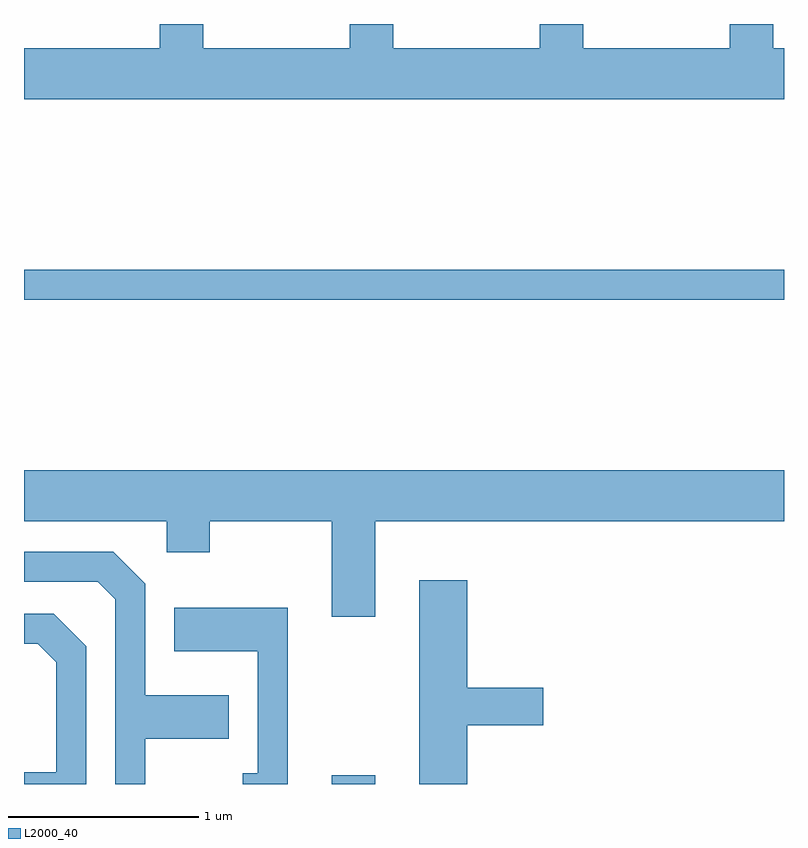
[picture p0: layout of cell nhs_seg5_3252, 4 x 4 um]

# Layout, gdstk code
import gdstk
lib = gdstk.Library(unit=1e-6, precision=1e-09)
def R(c, l, rs):  # rectangles x0, y0, x1, y1
    for r in rs: c.add(gdstk.rectangle(r[:2], r[2:], *l))
def P(c, l, *ps):  # polygons
    for p in ps: c.add(gdstk.Polygon(p, *l))
L2000_40 = (2000, 40)

nhs_seg5_3252 = lib.new_cell('nhs_seg5_3252')
R(nhs_seg5_3252, L2000_40, [(283.231,1462.072,283.459,1462.119), (281.611,1464.621,285.611,1464.779)])
P(nhs_seg5_3252, L2000_40, [(285.611,1465.944),(285.554,1465.944),(285.554,1466.072),(285.326,1466.072),(285.326,1465.944),(284.554,1465.944),(284.554,1466.072),(284.326,1466.072),(284.326,1465.944),(283.554,1465.944),(283.554,1466.072),(283.326,1466.072),(283.326,1465.944),(282.554,1465.944),(282.554,1466.072),(282.326,1466.072),(282.326,1465.944),(281.611,1465.944),(281.611,1465.676),(285.611,1465.676)],
  [(283.459,1463.456),(285.611,1463.456),(285.611,1463.724),(281.611,1463.724),(281.611,1463.456),(282.361,1463.456),(282.361,1463.291),(282.589,1463.291),(282.589,1463.456),(283.231,1463.456),(283.231,1462.951),(283.459,1462.951)],
  [(282.249,1462.311),(282.689,1462.311),(282.689,1462.539),(282.249,1462.539),(282.249,1463.127),(282.082,1463.294),(281.611,1463.294),(281.611,1463.136),(281.999,1463.136),(282.091,1463.044),(282.091,1462.072),(282.249,1462.072)],
  [(283.944,1462.381),(284.344,1462.381),(284.344,1462.579),(283.944,1462.579),(283.944,1463.144),(283.691,1463.144),(283.691,1462.072),(283.944,1462.072)],
  [(282.999,1462.999),(282.401,1462.999),(282.401,1462.771),(282.841,1462.771),(282.841,1462.129),(282.763,1462.129),(282.763,1462.072),(282.999,1462.072)],
  [(281.939,1462.797),(281.767,1462.969),(281.611,1462.969),(281.611,1462.811),(281.684,1462.811),(281.781,1462.714),(281.781,1462.134),(281.611,1462.134),(281.611,1462.072),(281.939,1462.072)])

lib.write_gds('nhs_seg5_3252.gds')
